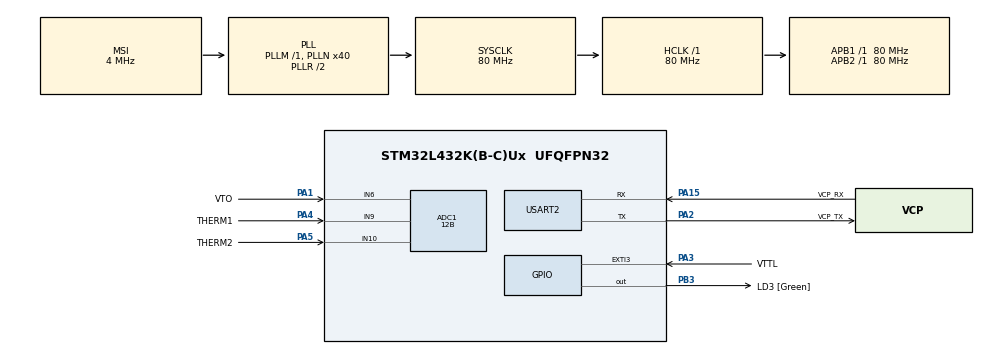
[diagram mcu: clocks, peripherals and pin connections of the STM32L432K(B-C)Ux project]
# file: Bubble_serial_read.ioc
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ADC1.Channel-0\#ChannelRegularConversion=ADC_CHANNEL_6
ADC1.Channel-1\#ChannelRegularConversion=ADC_CHANNEL_6
ADC1.Channel-2\#ChannelRegularConversion=ADC_CHANNEL_6
ADC1.ExternalTrigConv=ADC_EXTERNALTRIG_T1_TRGO
ADC1.NbrOfConversion=3
ADC1.NbrOfConversionFlag=1
ADC1.OffsetNumber-0\#ChannelRegularConversion=ADC_OFFSET_NONE
ADC1.OffsetNumber-1\#ChannelRegularConversion=ADC_OFFSET_NONE
ADC1.OffsetNumber-2\#ChannelRegularConversion=ADC_OFFSET_NONE
ADC1.Rank-0\#ChannelRegularConversion=1
ADC1.Rank-1\#ChannelRegularConversion=2
ADC1.Rank-2\#ChannelRegularConversion=3
ADC1.Resolution=ADC_RESOLUTION_12B
ADC1.SamplingTime-0\#ChannelRegularConversion=ADC_SAMPLETIME_2CYCLES_5
ADC1.SamplingTime-1\#ChannelRegularConversion=ADC_SAMPLETIME_2CYCLES_5
ADC1.SamplingTime-2\#ChannelRegularConversion=ADC_SAMPLETIME_2CYCLES_5
ADC1.master=1
Dma.ADC1.0.Direction=DMA_PERIPH_TO_MEMORY
Dma.ADC1.0.Instance=DMA1_Channel1
Dma.ADC1.0.MemDataAlignment=DMA_MDATAALIGN_HALFWORD
Dma.ADC1.0.MemInc=DMA_MINC_ENABLE
Dma.ADC1.0.Mode=DMA_NORMAL
Dma.ADC1.0.PeriphDataAlignment=DMA_PDATAALIGN_HALFWORD
Dma.ADC1.0.PeriphInc=DMA_PINC_DISABLE
Dma.ADC1.0.Priority=DMA_PRIORITY_LOW
Dma.Request0=ADC1
Mcu.Family=STM32L4
Mcu.Name=STM32L432K(B-C)Ux
Mcu.Package=UFQFPN32
NVIC.DMA1_Channel1_IRQn=true\:0\:0\:false\:false\:true\:false\:true\:true
NVIC.EXTI3_IRQn=true\:0\:0\:false\:false\:true\:true\:true\:true
NVIC.PriorityGroup=NVIC_PRIORITYGROUP_4
NVIC.TIM1_BRK_TIM15_IRQn=true\:0\:0\:false\:false\:true\:true\:true\:true
NVIC.TIM1_CC_IRQn=true\:0\:0\:false\:false\:true\:true\:true\:true
NVIC.TIM1_TRG_COM_IRQn=true\:0\:0\:false\:false\:true\:true\:true\:true
NVIC.TIM1_UP_TIM16_IRQn=true\:0\:0\:false\:false\:true\:true\:true\:true
NVIC.USART2_IRQn=true\:0\:0\:false\:false\:true\:true\:true\:true
PA0.GPIO_Label=MCO [High speed clock in]
PA0.Mode=HSE-External-Clock-Source-for-LittleOrca
PA0.Signal=RCC_CK_IN
PA1.GPIO_Label=VTO
PA1.Signal=ADCx_IN6
PA13\ (JTMS-SWDIO).GPIO_Label=SWDIO
PA13\ (JTMS-SWDIO).Mode=Serial_Wire
PA13\ (JTMS-SWDIO).Signal=SYS_JTMS-SWDIO
PA14\ (JTCK-SWCLK).GPIO_Label=SWCLK
PA14\ (JTCK-SWCLK).Mode=Serial_Wire
PA14\ (JTCK-SWCLK).Signal=SYS_JTCK-SWCLK
PA15\ (JTDI).GPIO_Label=VCP_RX
PA15\ (JTDI).Mode=Asynchronous
PA15\ (JTDI).Signal=USART2_RX
PA2.GPIO_Label=VCP_TX
PA2.Mode=Asynchronous
PA2.Signal=USART2_TX
PA3.GPIO_Label=VTTL
PA3.GPIO_ModeDefaultEXTI=GPIO_MODE_IT_RISING_FALLING
PA3.GPIO_PuPd=GPIO_PULLDOWN
PA3.Signal=GPXTI3
PA4.GPIO_Label=THERM1
PA4.Signal=ADCx_IN9
PA5.GPIO_Label=THERM2
PA5.Signal=ADCx_IN10
PB3\ (JTDO-TRACESWO).GPIO_Label=LD3 [Green]
PB3\ (JTDO-TRACESWO).Signal=GPIO_Output
PC14-OSC32_IN\ (PC14).Mode=LSE-External-Oscillator
PC14-OSC32_IN\ (PC14).Signal=RCC_OSC32_IN
PC15-OSC32_OUT\ (PC15).Mode=LSE-External-Oscillator
PC15-OSC32_OUT\ (PC15).Signal=RCC_OSC32_OUT
ProjectManager.HeapSize=0x200
ProjectManager.StackSize=0x400
ProjectManager.TargetToolchain=STM32CubeIDE
RCC.ADCFreq_Value=32000000
RCC.AHBFreq_Value=80000000
RCC.APB1Freq_Value=80000000
RCC.APB1TimFreq_Value=80000000
RCC.APB2Freq_Value=80000000
RCC.APB2TimFreq_Value=80000000
RCC.CortexFreq_Value=80000000
RCC.HCLKFreq_Value=80000000
RCC.HSE_VALUE=8000000
RCC.HSI16_VALUE=16000000
RCC.HSI48_VALUE=48000000
RCC.HSI_VALUE=16000000
RCC.MSI_VALUE=4000000
RCC.PLLMUL=RCC_PLLMUL_4
RCC.PLLN=40
RCC.PLLSAI1N=16
RCC.SYSCLKFreq_VALUE=80000000
RCC.SYSCLKSource=RCC_SYSCLKSOURCE_PLLCLK
RCC.USBFreq_Value=32000000
RCC.VCOOutputFreq_Value=160000000
SH.ADCx_IN10.0=ADC1_IN10,IN10-Single-Ended
SH.ADCx_IN6.0=ADC1_IN6,IN6-Single-Ended
SH.ADCx_IN9.0=ADC1_IN9,IN9-Single-Ended
TIM1.Period=7999
TIM1.TIM_MasterOutputTrigger=TIM_TRGO_UPDATE
USART2.VirtualMode-Asynchronous=VM_ASYNC
VP_TIM1_VS_ClockSourceINT.Mode=Internal
board=NUCLEO-L432KC

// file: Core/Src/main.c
/* USER CODE BEGIN Header */
/**
  ******************************************************************************
  * @file           : main.c
  * @brief          : Main program body
  ******************************************************************************
  * @attention
  *
  * Copyright (c) 2026 STMicroelectronics.
  * All rights reserved.
  *
  * This software is licensed under terms that can be found in the LICENSE file
  * in the root directory of this software component.
  * If no LICENSE file comes with this software, it is provided AS-IS.
  *
  ******************************************************************************
  */
/* USER CODE END Header */
#include "main.h"

/* USER CODE BEGIN Includes */
#include <stdio.h>
#include <string.h>
#include <math.h>
/* USER CODE END Includes */

/* USER CODE BEGIN PD */

#define R_FIXED 10000.0
#define R0      100000.0
#define BETA    4261.0
#define T0      298.15
#define ADC_MAX 4095.0
#define V_REF   3.3

/* USER CODE END PD */

ADC_HandleTypeDef hadc1;
DMA_HandleTypeDef hdma_adc1;

TIM_HandleTypeDef htim1;

UART_HandleTypeDef huart2;

/* USER CODE BEGIN PV */

float adcToTemperature(uint16_t adcValue)
{
    float Vout = (adcValue / ADC_MAX) * V_REF;

    float R_therm = R_FIXED * (Vout / (V_REF - Vout));

    float tempK = 1.0 / ((1.0 / T0) + (1.0 / BETA) * log(R_therm / R0));

    return tempK - 273.15;
}

volatile uint8_t bubble_detected = 0;
volatile uint8_t bubble_sensor_failed = 0;
volatile uint16_t VTO_ADC_12Bit;
volatile double VTO;
volatile double VTO_NORM = 0.3;

volatile uint8_t tx_complete = 1;
volatile uint8_t ADC_ready = 0;
uint32_t ADC_VAL[3];
volatile float THERM1_32Bit;
volatile float THERM2_32Bit;

void HAL_ADC_ConvCpltCallback(ADC_HandleTypeDef *hadc){

	if (hadc->Instance == ADC1){
			// call back when ADC values are ready
			ADC_ready = 1;
			VTO_ADC_12Bit = (uint16_t)(ADC_VAL[0]);

			THERM1_32Bit = (float)adcToTemperature((uint16_t)(ADC_VAL[1]));
			THERM2_32Bit = (float)adcToTemperature((uint16_t)(ADC_VAL[2]));

			// convert to voltage for continous self test
			VTO = (VTO_ADC_12Bit * V_REF) / ADC_MAX;

			// treating all non-normal self test voltages as failure
			if (VTO > VTO_NORM){
				// set failure flag
				// if control team wants; change to hold GPIO high for a faster interrupt
				bubble_sensor_failed = 1;
			}
	}

	// use this if block for integration
	// update hadc->Instance to the ADC instance in use on integrated STM
	/*
	if (hadc->Instance == ADC1){
		VTO_ADC_8Bit = (uint8_t)(HAL_ADC_GetValue(&hadc1));

		// convert to voltage for continous self test
		VTO = (VTO_ADC_8Bit * 3.3) / 255.0;

		// treating all non-normal self test voltages as failure
		if (VTO > VTO_NORM){
			// set failure flag
			// if control team wants; change to hold GPIO high for a faster interrupt
			bubble_sensor_failed = 1;
		}
	}
	*/
}

void HAL_GPIO_EXTI_Callback(uint16_t GPIO_Pin){

	// use this if block for integration
	// update GPIO_Pin to the VTTL_Pin in use on integrated STM
	if (GPIO_Pin == VTTL_Pin){
		if(HAL_GPIO_ReadPin(VTTL_GPIO_Port, VTTL_Pin) == GPIO_PIN_SET) {
			// edge detected && VTTL HIGH
			bubble_detected = 1;
		}
	}
}

void HAL_UART_TxCpltCallback(UART_HandleTypeDef *huart){
	tx_complete = 1;
}

/* USER CODE END PV */

void SystemClock_Config(void);
static void MX_GPIO_Init(void);
static void MX_DMA_Init(void);
static void MX_USART2_UART_Init(void);
static void MX_ADC1_Init(void);
static void MX_TIM1_Init(void);

int main(void)
{

  /* MCU Configuration--------------------------------------------------------*/

  /* Reset of all peripherals, Initializes the Flash interface and the Systick. */
  HAL_Init();

  /* Configure the system clock */
  SystemClock_Config();

  /* Initialize all configured peripherals */
  MX_GPIO_Init();
  MX_DMA_Init();
  MX_USART2_UART_Init();
  MX_ADC1_Init();
  MX_TIM1_Init();
  /* USER CODE BEGIN 2 */

  // start ADC polling for self testing
  HAL_TIM_Base_Start(&htim1);
  HAL_ADC_Start_DMA(&hadc1, ADC_VAL, 3);

  char* bubble_message = "Bubble detected\r\n";
  char* fail_message = "Bubble sensor failure\r\n";
  char temperature_message[120];

  /* USER CODE END 2 */

  /* Infinite loop */
  /* USER CODE BEGIN WHILE */
  while (1)
  {
	  if (ADC_ready){
		  sprintf(temperature_message, "T1 = %.2f C | T2 = %.2f C \r\n", (float)THERM1_32Bit, (float)THERM2_32Bit);
		  ADC_ready = 0;
		  if (tx_complete){
		          tx_complete = 0;
		          HAL_UART_Transmit_IT(&huart2, (uint8_t*)temperature_message, (int)strlen(temperature_message));
		  		  }
	  }

	  //example use of bubble_detected and bubble_sensor_failed
	  if (bubble_detected){
		  if (tx_complete){
			  tx_complete = 0;
			  HAL_UART_Transmit_IT(&huart2, (uint8_t*)bubble_message, (int)strlen(bubble_message));
		  }

		  //reset flag for testing purposes
		  bubble_detected = 0;
	  }

	  if (bubble_sensor_failed){
		  if (tx_complete){
			  tx_complete = 0;
			  HAL_UART_Transmit_IT(&huart2, (uint8_t*)fail_message, (int)strlen(fail_message));
		  }

		  // hold the flag for testing purposes
		  bubble_sensor_failed = 1;
	  }

    /* USER CODE END WHILE */

  }
}

void SystemClock_Config(void)
{
  RCC_OscInitTypeDef RCC_OscInitStruct = {0};
  RCC_ClkInitTypeDef RCC_ClkInitStruct = {0};

  /** Configure the main internal regulator output voltage
  */
  if (HAL_PWREx_ControlVoltageScaling(PWR_REGULATOR_VOLTAGE_SCALE1) != HAL_OK)
  {
    Error_Handler();
  }

  /** Configure LSE Drive Capability
  */
  HAL_PWR_EnableBkUpAccess();
  __HAL_RCC_LSEDRIVE_CONFIG(RCC_LSEDRIVE_LOW);

  /** Initializes the RCC Oscillators according to the specified parameters
  * in the RCC_OscInitTypeDef structure.
  */
  RCC_OscInitStruct.OscillatorType = RCC_OSCILLATORTYPE_LSE|RCC_OSCILLATORTYPE_MSI;
  RCC_OscInitStruct.LSEState = RCC_LSE_ON;
  RCC_OscInitStruct.MSIState = RCC_MSI_ON;
  RCC_OscInitStruct.MSICalibrationValue = 0;
  RCC_OscInitStruct.MSIClockRange = RCC_MSIRANGE_6;
  RCC_OscInitStruct.PLL.PLLState = RCC_PLL_ON;
  RCC_OscInitStruct.PLL.PLLSource = RCC_PLLSOURCE_MSI;
  RCC_OscInitStruct.PLL.PLLM = 1;
  RCC_OscInitStruct.PLL.PLLN = 40;
  RCC_OscInitStruct.PLL.PLLP = RCC_PLLP_DIV7;
  RCC_OscInitStruct.PLL.PLLQ = RCC_PLLQ_DIV2;
  RCC_OscInitStruct.PLL.PLLR = RCC_PLLR_DIV2;
  if (HAL_RCC_OscConfig(&RCC_OscInitStruct) != HAL_OK)
  {
    Error_Handler();
  }

  /** Initializes the CPU, AHB and APB buses clocks
  */
  RCC_ClkInitStruct.ClockType = RCC_CLOCKTYPE_HCLK|RCC_CLOCKTYPE_SYSCLK
                              |RCC_CLOCKTYPE_PCLK1|RCC_CLOCKTYPE_PCLK2;
  RCC_ClkInitStruct.SYSCLKSource = RCC_SYSCLKSOURCE_PLLCLK;
  RCC_ClkInitStruct.AHBCLKDivider = RCC_SYSCLK_DIV1;
  RCC_ClkInitStruct.APB1CLKDivider = RCC_HCLK_DIV1;
  RCC_ClkInitStruct.APB2CLKDivider = RCC_HCLK_DIV1;

  if (HAL_RCC_ClockConfig(&RCC_ClkInitStruct, FLASH_LATENCY_4) != HAL_OK)
  {
    Error_Handler();
  }

  /** Enable MSI Auto calibration
  */
  HAL_RCCEx_EnableMSIPLLMode();
}

static void MX_ADC1_Init(void)
{

  ADC_ChannelConfTypeDef sConfig = {0};

  /** Common config
  */
  hadc1.Instance = ADC1;
  hadc1.Init.ClockPrescaler = ADC_CLOCK_ASYNC_DIV1;
  hadc1.Init.Resolution = ADC_RESOLUTION_12B;
  hadc1.Init.DataAlign = ADC_DATAALIGN_RIGHT;
  hadc1.Init.ScanConvMode = ADC_SCAN_ENABLE;
  hadc1.Init.EOCSelection = ADC_EOC_SINGLE_CONV;
  hadc1.Init.LowPowerAutoWait = DISABLE;
  hadc1.Init.ContinuousConvMode = DISABLE;
  hadc1.Init.NbrOfConversion = 3;
  hadc1.Init.DiscontinuousConvMode = DISABLE;
  hadc1.Init.ExternalTrigConv = ADC_EXTERNALTRIG_T1_TRGO;
  hadc1.Init.ExternalTrigConvEdge = ADC_EXTERNALTRIGCONVEDGE_RISING;
  hadc1.Init.DMAContinuousRequests = DISABLE;
  hadc1.Init.Overrun = ADC_OVR_DATA_PRESERVED;
  hadc1.Init.OversamplingMode = DISABLE;
  if (HAL_ADC_Init(&hadc1) != HAL_OK)
  {
    Error_Handler();
  }

  /** Configure Regular Channel
  */
  sConfig.Channel = ADC_CHANNEL_6;
  sConfig.Rank = ADC_REGULAR_RANK_1;
  sConfig.SamplingTime = ADC_SAMPLETIME_2CYCLES_5;
  sConfig.SingleDiff = ADC_SINGLE_ENDED;
  sConfig.OffsetNumber = ADC_OFFSET_NONE;
  sConfig.Offset = 0;
  if (HAL_ADC_ConfigChannel(&hadc1, &sConfig) != HAL_OK)
  {
    Error_Handler();
  }

  /** Configure Regular Channel
  */
  sConfig.Rank = ADC_REGULAR_RANK_2;
  if (HAL_ADC_ConfigChannel(&hadc1, &sConfig) != HAL_OK)
  {
    Error_Handler();
  }

  /** Configure Regular Channel
  */
  sConfig.Rank = ADC_REGULAR_RANK_3;
  if (HAL_ADC_ConfigChannel(&hadc1, &sConfig) != HAL_OK)
  {
    Error_Handler();
  }

}

static void MX_TIM1_Init(void)
{

  TIM_ClockConfigTypeDef sClockSourceConfig = {0};
  TIM_MasterConfigTypeDef sMasterConfig = {0};

  htim1.Instance = TIM1;
  htim1.Init.Prescaler = 0;
  htim1.Init.CounterMode = TIM_COUNTERMODE_UP;
  htim1.Init.Period = 7999;
  htim1.Init.ClockDivision = TIM_CLOCKDIVISION_DIV1;
  htim1.Init.RepetitionCounter = 0;
  htim1.Init.AutoReloadPreload = TIM_AUTORELOAD_PRELOAD_DISABLE;
  if (HAL_TIM_Base_Init(&htim1) != HAL_OK)
  {
    Error_Handler();
  }
  sClockSourceConfig.ClockSource = TIM_CLOCKSOURCE_INTERNAL;
  if (HAL_TIM_ConfigClockSource(&htim1, &sClockSourceConfig) != HAL_OK)
  {
    Error_Handler();
  }
  sMasterConfig.MasterOutputTrigger = TIM_TRGO_UPDATE;
  sMasterConfig.MasterOutputTrigger2 = TIM_TRGO2_RESET;
  sMasterConfig.MasterSlaveMode = TIM_MASTERSLAVEMODE_DISABLE;
  if (HAL_TIMEx_MasterConfigSynchronization(&htim1, &sMasterConfig) != HAL_OK)
  {
    Error_Handler();
  }

}

static void MX_USART2_UART_Init(void)
{

  huart2.Instance = USART2;
  huart2.Init.BaudRate = 115200;
  huart2.Init.WordLength = UART_WORDLENGTH_8B;
  huart2.Init.StopBits = UART_STOPBITS_1;
  huart2.Init.Parity = UART_PARITY_NONE;
  huart2.Init.Mode = UART_MODE_TX_RX;
  huart2.Init.HwFlowCtl = UART_HWCONTROL_NONE;
  huart2.Init.OverSampling = UART_OVERSAMPLING_16;
  huart2.Init.OneBitSampling = UART_ONE_BIT_SAMPLE_DISABLE;
  huart2.AdvancedInit.AdvFeatureInit = UART_ADVFEATURE_NO_INIT;
  if (HAL_UART_Init(&huart2) != HAL_OK)
  {
    Error_Handler();
  }

}

static void MX_DMA_Init(void)
{

  /* DMA controller clock enable */
  __HAL_RCC_DMA1_CLK_ENABLE();

  /* DMA interrupt init */
  /* DMA1_Channel1_IRQn interrupt configuration */
  HAL_NVIC_SetPriority(DMA1_Channel1_IRQn, 0, 0);
  HAL_NVIC_EnableIRQ(DMA1_Channel1_IRQn);

}

static void MX_GPIO_Init(void)
{
  GPIO_InitTypeDef GPIO_InitStruct = {0};

  /* GPIO Ports Clock Enable */
  __HAL_RCC_GPIOC_CLK_ENABLE();
  __HAL_RCC_GPIOA_CLK_ENABLE();
  __HAL_RCC_GPIOB_CLK_ENABLE();

  /*Configure GPIO pin Output Level */
  HAL_GPIO_WritePin(LD3_GPIO_Port, LD3_Pin, GPIO_PIN_RESET);

  /*Configure GPIO pin : VTTL_Pin */
  GPIO_InitStruct.Pin = VTTL_Pin;
  GPIO_InitStruct.Mode = GPIO_MODE_IT_RISING_FALLING;
  GPIO_InitStruct.Pull = GPIO_PULLDOWN;
  HAL_GPIO_Init(VTTL_GPIO_Port, &GPIO_InitStruct);

  /*Configure GPIO pin : LD3_Pin */
  GPIO_InitStruct.Pin = LD3_Pin;
  GPIO_InitStruct.Mode = GPIO_MODE_OUTPUT_PP;
  GPIO_InitStruct.Pull = GPIO_NOPULL;
  GPIO_InitStruct.Speed = GPIO_SPEED_FREQ_LOW;
  HAL_GPIO_Init(LD3_GPIO_Port, &GPIO_InitStruct);

  /* EXTI interrupt init*/
  HAL_NVIC_SetPriority(EXTI3_IRQn, 0, 0);
  HAL_NVIC_EnableIRQ(EXTI3_IRQn);

}

void Error_Handler(void)
{
  __disable_irq();
  while (1)
  {
  }
}
